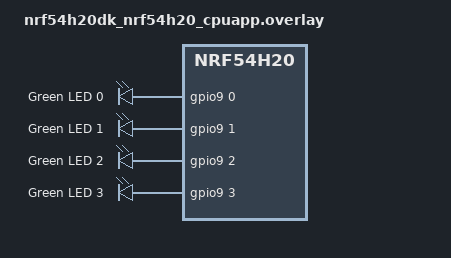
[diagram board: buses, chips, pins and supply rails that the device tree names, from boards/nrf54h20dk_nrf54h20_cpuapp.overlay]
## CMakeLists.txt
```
#
# Copyright (c) 2021 Nordic Semiconductor
#
# SPDX-License-Identifier: LicenseRef-Nordic-5-Clause
#
cmake_minimum_required(VERSION 3.20.0)

find_package(Zephyr REQUIRED HINTS $ENV{ZEPHYR_BASE})
project(NONE)

# NORDIC SDK APP START
target_sources(app PRIVATE
  src/main.c
)
# NORDIC SDK APP END

# Add include directory for board specific CAF def files
zephyr_include_directories(
  configuration/${NORMALIZED_BOARD_TARGET}
  )

target_sources_ifdef(CONFIG_CAF_SAMPLE_LED_STATE
  app PRIVATE src/modules/led_state.c)
```

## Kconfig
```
#
# Copyright (c) 2021 Nordic Semiconductor ASA
#
# SPDX-License-Identifier: LicenseRef-Nordic-5-Clause
#

menu "Common Application Framework sample"
rsource "src/modules/Kconfig"
endmenu

menu "Zephyr Kernel"
source "Kconfig.zephyr"
endmenu
```

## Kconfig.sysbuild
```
#
# Copyright (c) 2025 Nordic Semiconductor
#
# SPDX-License-Identifier: LicenseRef-Nordic-5-Clause
#

config PARTITION_MANAGER
	default n

source "share/sysbuild/Kconfig"
```

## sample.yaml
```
sample:
  description: Common Application Framework sample
  name: CAF
tests:
  sample.caf:
    sysbuild: true
    build_only: true
    integration_platforms:
      - nrf52840dk/nrf52840
      - nrf5340dk/nrf5340/cpuapp
    platform_allow:
      - nrf52840dk/nrf52840
      - nrf5340dk/nrf5340/cpuapp
    tags:
      - caf
      - ci_build
      - sysbuild
      - ci_samples_caf
```

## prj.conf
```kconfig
#
# Copyright (c) 2021 Nordic Semiconductor
#
# SPDX-License-Identifier: LicenseRef-Nordic-5-Clause
#

# Dependencies for APP_EVENT_MANAGER and CAF
CONFIG_HEAP_MEM_POOL_SIZE=2048

# Enable CAF_BUTTONS
CONFIG_CAF=y
CONFIG_CAF_BUTTONS=y
CONFIG_CAF_BUTTONS_POLARITY_INVERSED=y

# Dependencies for CAF_LEDS
CONFIG_LED=y
CONFIG_PWM=y
CONFIG_LED_PWM=y

# Enable CAF_LEDS
CONFIG_CAF_LEDS=y
CONFIG_CAF_LEDS_PWM=y

# Enable logging
CONFIG_LOG=y
# Increase number of internal logging buffers

# Application specific options
CONFIG_CAF_SAMPLE_LED_STATE=y
```

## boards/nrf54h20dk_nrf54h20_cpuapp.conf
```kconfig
#
# Copyright (c) 2024 Nordic Semiconductor ASA
#
# SPDX-License-Identifier: LicenseRef-Nordic-5-Clause
#
################################################################################

CONFIG_LED_PWM=n
CONFIG_LED_GPIO=y
```

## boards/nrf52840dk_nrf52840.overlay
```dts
/* Copyright (c) 2021-2022 Nordic Semiconductor ASA
 *
 * SPDX-License-Identifier: LicenseRef-Nordic-5-Clause
 */

/ {
	pwmleds1 {
		compatible = "pwm-leds";
		status = "okay";

		pwm_led1: led_pwm_1 {
			status = "okay";
			pwms = <&pwm1 0 PWM_MSEC(20) PWM_POLARITY_INVERTED>;
			label = "LED 2";
		};
	};

	pwmleds2 {
		compatible = "pwm-leds";
		status = "okay";

		pwm_led2: led_pwm_2 {
			status = "okay";
			pwms = <&pwm2 0 PWM_MSEC(20) PWM_POLARITY_INVERTED>;
			label = "LED 3";
		};
	};

	pwmleds3 {
		compatible = "pwm-leds";
		status = "okay";

		pwm_led3: led_pwm_3 {
			status = "okay";
			pwms = <&pwm3 0 PWM_MSEC(20) PWM_POLARITY_INVERTED>;
			label = "LED 4";
		};
	};
};

&pwm0 {
	status = "okay";
	pinctrl-0 = <&pwm0_default_alt>;
	pinctrl-1 = <&pwm0_sleep_alt>;
	pinctrl-names = "default", "sleep";
};

&pwm1 {
	status = "okay";
	pinctrl-0 = <&pwm1_default_alt>;
	pinctrl-1 = <&pwm1_sleep_alt>;
	pinctrl-names = "default", "sleep";
};

&pwm2 {
	status = "okay";
	pinctrl-0 = <&pwm2_default_alt>;
	pinctrl-1 = <&pwm2_sleep_alt>;
	pinctrl-names = "default", "sleep";
};

&pwm3 {
	status = "okay";
	pinctrl-0 = <&pwm3_default_alt>;
	pinctrl-1 = <&pwm3_sleep_alt>;
	pinctrl-names = "default", "sleep";
};

&pwm_led0 {
	status = "okay";
	pwms = <&pwm0 0 PWM_MSEC(20) PWM_POLARITY_INVERTED>;
	label = "LED 1";
};

&pinctrl {
	pwm0_default_alt: pwm0_default_alt {
		group1 {
			psels = <NRF_PSEL(PWM_OUT0, 0, 13)>;
			nordic,invert;
		};
	};

	pwm0_sleep_alt: pwm0_sleep_alt {
		group1 {
			psels = <NRF_PSEL(PWM_OUT0, 0, 13)>;
			low-power-enable;
		};
	};

	pwm1_default_alt: pwm1_default_alt {
		group1 {
			psels = <NRF_PSEL(PWM_OUT0, 0, 14)>;
			nordic,invert;
		};
	};

	pwm1_sleep_alt: pwm1_sleep_alt {
		group1 {
			psels = <NRF_PSEL(PWM_OUT0, 0, 14)>;
			low-power-enable;
		};
	};

	pwm2_default_alt: pwm2_default_alt {
		group1 {
			psels = <NRF_PSEL(PWM_OUT0, 0, 15)>;
			nordic,invert;
		};
	};

	pwm2_sleep_alt: pwm2_sleep_alt {
		group1 {
			psels = <NRF_PSEL(PWM_OUT0, 0, 15)>;
			low-power-enable;
		};
	};

	pwm3_default_alt: pwm3_default_alt {
		group1 {
			psels = <NRF_PSEL(PWM_OUT0, 0, 16)>;
			nordic,invert;
		};
	};

	pwm3_sleep_alt: pwm3_sleep_alt {
		group1 {
			psels = <NRF_PSEL(PWM_OUT0, 0, 16)>;
			low-power-enable;
		};
	};
};
```

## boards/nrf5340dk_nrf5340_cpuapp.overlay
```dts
/* Copyright (c) 2021-2022 Nordic Semiconductor ASA
 *
 * SPDX-License-Identifier: LicenseRef-Nordic-5-Clause
 */

/ {
	pwmleds1 {
		compatible = "pwm-leds";
		status = "okay";

		pwm_led1: led_pwm_1 {
			pwms = <&pwm1 0 PWM_MSEC(20) PWM_POLARITY_INVERTED>;
			label = "LED 2";
		};
	};

	pwmleds2 {
		compatible = "pwm-leds";
		status = "okay";

		pwm_led2: led_pwm_2 {
			status = "okay";
			pwms = <&pwm2 0 PWM_MSEC(20) PWM_POLARITY_INVERTED>;
			label = "LED 3";
		};
	};

	pwmleds3 {
		compatible = "pwm-leds";
		status = "okay";

		pwm_led3: led_pwm_3 {
			status = "okay";
			pwms = <&pwm3 0 PWM_MSEC(20) PWM_POLARITY_INVERTED>;
			label = "LED 4";
		};
	};
};

&pwm0 {
	status = "okay";
	pinctrl-0 = <&pwm0_default_alt>;
	pinctrl-1 = <&pwm0_sleep_alt>;
	pinctrl-names = "default", "sleep";
};

&pwm1 {
	status = "okay";
	pinctrl-0 = <&pwm1_default_alt>;
	pinctrl-1 = <&pwm1_sleep_alt>;
	pinctrl-names = "default", "sleep";
};

&pwm2 {
	status = "okay";
	pinctrl-0 = <&pwm2_default_alt>;
	pinctrl-1 = <&pwm2_sleep_alt>;
	pinctrl-names = "default", "sleep";
};

&pwm3 {
	status = "okay";
	pinctrl-0 = <&pwm3_default_alt>;
	pinctrl-1 = <&pwm3_sleep_alt>;
	pinctrl-names = "default", "sleep";
};

&pwm_led0 {
	status = "okay";
	pwms = <&pwm0 0 PWM_MSEC(20) PWM_POLARITY_INVERTED>;
	label = "LED 1";
};

&pinctrl {
	pwm0_default_alt: pwm0_default_alt {
		group1 {
			psels = <NRF_PSEL(PWM_OUT0, 0, 28)>;
			nordic,invert;
		};
	};

	pwm0_sleep_alt: pwm0_sleep_alt {
		group1 {
			psels = <NRF_PSEL(PWM_OUT0, 0, 28)>;
			low-power-enable;
		};
	};

	pwm1_default_alt: pwm1_default_alt {
		group1 {
			psels = <NRF_PSEL(PWM_OUT0, 0, 29)>;
			nordic,invert;
		};
	};

	pwm1_sleep_alt: pwm1_sleep_alt {
		group1 {
			psels = <NRF_PSEL(PWM_OUT0, 0, 29)>;
			low-power-enable;
		};
	};

	pwm2_default_alt: pwm2_default_alt {
		group1 {
			psels = <NRF_PSEL(PWM_OUT0, 0, 30)>;
			nordic,invert;
		};
	};

	pwm2_sleep_alt: pwm2_sleep_alt {
		group1 {
			psels = <NRF_PSEL(PWM_OUT0, 0, 30)>;
			low-power-enable;
		};
	};

	pwm3_default_alt: pwm3_default_alt {
		group1 {
			psels = <NRF_PSEL(PWM_OUT0, 0, 31)>;
			nordic,invert;
		};
	};

	pwm3_sleep_alt: pwm3_sleep_alt {
		group1 {
			psels = <NRF_PSEL(PWM_OUT0, 0, 31)>;
			low-power-enable;
		};
	};
};
```

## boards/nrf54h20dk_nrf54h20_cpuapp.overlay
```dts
/*
 * Copyright (c) 2024 Nordic Semiconductor ASA
 *
 * SPDX-License-Identifier: LicenseRef-Nordic-5-Clause
 */

/ {
	/delete-node/ leds;

	leds0 {
		compatible = "gpio-leds";

		led0: led_0 {
			gpios = <&gpio9 0 GPIO_ACTIVE_HIGH>;
			label = "Green LED 0";
		};
	};

	leds1 {
		compatible = "gpio-leds";

		led1: led_1 {
			gpios = <&gpio9 1 GPIO_ACTIVE_HIGH>;
			label = "Green LED 1";
		};
	};

	leds2 {
		compatible = "gpio-leds";

		led2: led_2 {
			gpios = <&gpio9 2 GPIO_ACTIVE_HIGH>;
			label = "Green LED 2";
		};
	};

	leds3 {
		compatible = "gpio-leds";

		led3: led_3 {
			gpios = <&gpio9 3 GPIO_ACTIVE_HIGH>;
			label = "Green LED 3";
		};
	};
};
```

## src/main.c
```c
/*
 * Copyright (c) 2021 Nordic Semiconductor ASA
 *
 * SPDX-License-Identifier: LicenseRef-Nordic-5-Clause
 */
#include <app_event_manager.h>

#define MODULE main
#include <caf/events/module_state_event.h>

#include <zephyr/logging/log.h>
LOG_MODULE_REGISTER(MODULE);


int main(void)
{
	if (app_event_manager_init()) {
		LOG_ERR("Application Event Manager not initialized");
	} else {
		module_set_state(MODULE_STATE_READY);
	}

	return 0;
}
```
